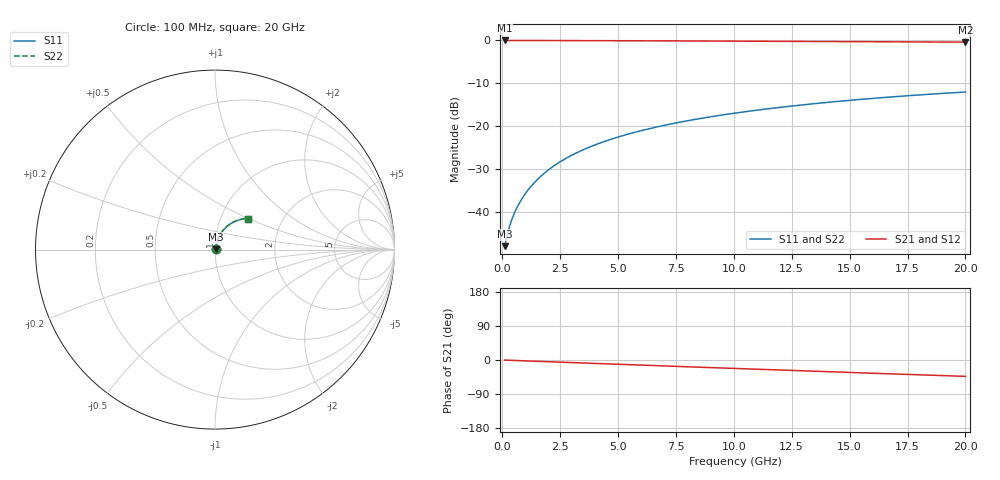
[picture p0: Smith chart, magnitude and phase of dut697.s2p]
! Touchstone file exported from HFSS 2026.1.0
!  File:  C:/ffzhzh/LocalFiles/Ansys_Project_Files/temp_train_BSMRDL_697_1783017804_53980.aedt
!  Generated:  02:44:44 AM Jul  3, 2026
!  Design:  BSMRDL
!  Project:  temp_train_BSMRDL_697_1783017804_53980
! Variables:
!  h_bsmrdl = 3.73um
!  h_ox = 20um
!  h_rdl = 5um
!  h_sub = 80um
!  h_tmrdl = 5um
!  h_tsv = 80um
!  h_via = 3um
!  l_bsmrdl = 719.98um
!  l_sub = 1119.98um
!  l_tmrdl = 200um
!  m_sub = 200um
!  pitch = 32.18um
!  r_tsv = 6um
!  s_tmrdl = 10um
!  w_bsmrdl = 20.34um
!  w_sub = 500um
!  w_tmrdl = 12um
!  x_tsv_center1 = 206um
!  x_tsv_center2 = 946.32um
!  x_tsv_center3 = 1158.32um
!  x_tsv_center4 = 1898.64um
!  x_tsv_center5 = 2110.64um
!  x_tsv_center6 = 2850.96um
# GHz S MA R 50.000000
! Terminal data exported
! Port[1] = BSM_RDL1_1_T1
! Port[2] = BSM_RDL1_1_T2
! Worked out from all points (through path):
!   200 points, 100 MHz to 20 GHz, reference 50 ohm
!   highest |S21| = -0.03 dB at 100 MHz (marker M1); lowest = -0.4 dB at 20 GHz (marker M2)
!   group delay of S21, straight-line fit = 5.99 ps
!   lowest |S11| = -47.9 dB at 100 MHz (marker M3), VSWR 1.01, Z = 50.4 + j0.191 ohm
!   |S11| at or under -10 dB: start of sweep to end of sweep
!   |S22| runs from -47.9 to -12.0 dB; largest |S21 - S12| = 2.7e-15
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0.1  0.004046 27.9  0.9964 -0.2  0.9964 -0.2  0.004046 27.9
! Gamma 0 0 0 0
! Port Impedance 50 0 50 0
0.2  0.005298 43.7  0.9962 -0.5  0.9962 -0.5  0.005298 43.7
0.3  0.006702 52.0  0.9959 -0.7  0.9959 -0.7  0.006702 52.0
0.4  0.008105 57.2  0.9957 -1.0  0.9957 -1.0  0.008106 57.2
0.5  0.009497 60.9  0.9955 -1.2  0.9955 -1.2  0.009498 60.9
0.6  0.01089 63.7  0.9954 -1.4  0.9954 -1.4  0.01089 63.7
0.8  0.0137 67.8  0.9952 -1.9  0.9952 -1.9  0.01371 67.8
1  0.01657 70.5  0.995 -2.3  0.995 -2.3  0.01657 70.5
1.2  0.01948 72.4  0.9949 -2.8  0.9949 -2.8  0.01948 72.4
1.4  0.02241 73.6  0.9947 -3.2  0.9947 -3.2  0.02241 73.6
1.7  0.02685 74.8  0.9945 -3.9  0.9945 -3.9  0.02685 74.8
2.2  0.03428 75.7  0.994 -5.0  0.994 -5.0  0.03428 75.7
2.8  0.04318 75.8  0.9932 -6.4  0.9932 -6.4  0.04318 75.8
3.5  0.05349 75.2  0.9922 -7.9  0.9922 -7.9  0.05349 75.2
4.2  0.06368 74.3  0.9911 -9.5  0.9911 -9.5  0.06368 74.3
5  0.07513 73.0  0.9897 -11.3  0.9897 -11.3  0.07513 72.9
6.8  0.1001 69.6  0.986 -15.3  0.986 -15.3  0.1001 69.6
8.3  0.1201 66.6  0.9826 -18.5  0.9826 -18.5  0.1201 66.6
10.1  0.1431 63.0  0.9783 -22.4  0.9783 -22.4  0.1431 63.0
13.4  0.1827 56.5  0.9701 -29.5  0.9701 -29.5  0.1827 56.5
16.7  0.2187 50.0  0.9614 -36.4  0.9614 -36.4  0.2187 49.9
20  0.2508 43.5  0.9528 -43.2  0.9528 -43.2  0.2508 43.5
